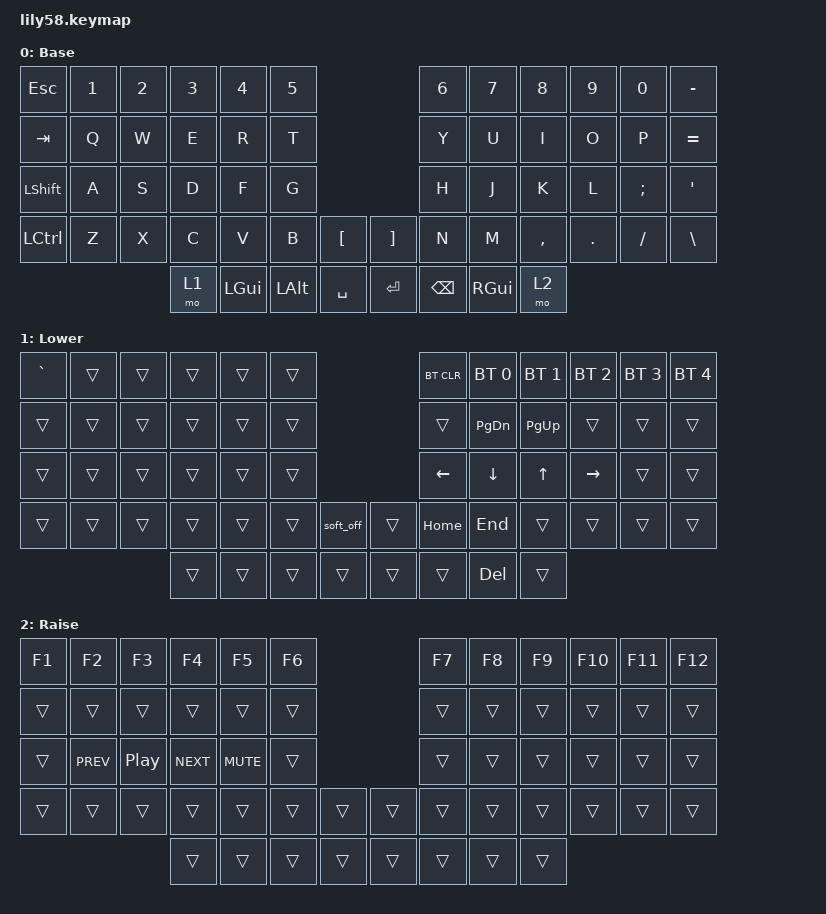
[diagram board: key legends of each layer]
/*
 * Copyright (c) 2020 The ZMK Contributors
 *
 * SPDX-License-Identifier: MIT
 */

#include <behaviors.dtsi>
#include <dt-bindings/zmk/keys.h>
#include <dt-bindings/zmk/bt.h>
#include <dt-bindings/zmk/ext_power.h>

&soft_off {
    hold-time-ms = <3000>; // Only turn off if the key is held for 3 seconds or longer.
};

&soft_off {
    /delete-property/ split-peripheral-off-on-press;
};

/ {
    keymap {
        compatible = "zmk,keymap";

        default_layer {
// ------------------------------------------------------------------------------------------------------------
// |  ESC  |  1  |  2  |  3   |  4   |  5   |                   |  6   |  7    |  8    |  9   |   0   |   -   |
// |  TAB  |  Q  |  W  |  E   |  R   |  T   |                   |  Y   |  U    |  I    |  O   |   P   |   =   |
// |  SHIFT|  A  |  S  |  D   |  F   |  G   |                   |  H   |  J    |  K    |  L   |   ;   |   '   |
// |  CTRL |  Z  |  X  |  C   |  V   |  B   |   "["  |  |  "]"  |  N   |  M    |  ,    |  .   |   /   |   \   |
//                     | LOWER|  GUI | ALT  |  SPACE |  | ENTER| BSPC |  GUI  | RAISE |
            display-name = "Base";
            bindings = <
&kp ESC   &kp N1 &kp N2 &kp N3   &kp N4   &kp N5                        &kp N6    &kp N7   &kp N8    &kp N9  &kp N0   &kp MINUS
&kp TAB   &kp Q  &kp W  &kp E    &kp R    &kp T                         &kp Y     &kp U    &kp I     &kp O   &kp P    &kp EQUAL
&kp LSHFT &kp A  &kp S  &kp D    &kp F    &kp G                         &kp H     &kp J    &kp K     &kp L   &kp SEMI &kp SQT
&kp LCTRL &kp Z  &kp X  &kp C    &kp V    &kp B     &kp LBKT   &kp RBKT &kp N     &kp M    &kp COMMA &kp DOT &kp FSLH &kp BSLH
                        &mo 1    &kp LGUI &kp LALT  &kp SPACE  &kp RET  &kp BSPC  &kp RGUI &mo 2
            >;
        };

        lower_layer {
// ------------------------------------------------------------------------------------------------------------
// |   `   |     |     |      |      |      |                   | BTCLR | BT1   | BT2   | BT3  | BT4   | BT5   |
// |       |     |     |      |      |      |                   |       | PG_DN | PG_UP |      |       |       |
// |       |     |     |      |      |      |                   |  <-   |   v   |   ^   |  ->  |       |       |
// |       |     |     |      |      |      |  Off   |  |       | HOME  |  END  |       |      |       |       |
//                     |      |      |      |        |  |       |       |  DEL  |       |
            display-name = "Lower";
            bindings = <
&kp GRAVE  &trans     &trans     &trans     &trans     &trans                          &bt BT_CLR   &bt BT_SEL 0 &bt BT_SEL 1 &bt BT_SEL 2 &bt BT_SEL 3 &bt BT_SEL 4
&trans     &trans     &trans     &trans     &trans     &trans                          &trans       &kp PG_DN    &kp PG_UP    &trans       &trans       &trans
&trans     &trans     &trans     &trans     &trans     &trans                          &kp LEFT     &kp DOWN     &kp UP       &kp RIGHT    &trans       &trans
&trans     &trans     &trans     &trans     &trans     &trans    &soft_off   &trans    &kp HOME     &kp END      &trans       &trans       &trans       &trans
                                 &trans     &trans     &trans    &trans      &trans    &trans       &kp DEL      &trans
            >;
        };

        raise_layer {
// ------------------------------------------------------------------------------------------------------------
// |  F1   |  F2  |  F3  |  F4  |  F5  |  F6  |                   |  F7  |  F8   |  F9   |  F10 |  F11  |  F12  |
// |       |      |      |      |      |      |                   |      |       |       |      |       |       |
// |       | PREV |  PP  | NEXT | MUTE |      |                   |      |       |       |      |       |       |
// |       |      |      |      |      |      |        |  |       |      |       |       |      |       |       |
//                       |      |      |      |        |  |       |      |       |       |
            display-name = "Raise";
            bindings = <
&kp F1    &kp F2     &kp F3   &kp F4     &kp F5     &kp F6                       &kp F7    &kp F8    &kp F9    &kp F10  &kp F11   &kp F12
&trans    &trans     &trans   &trans     &trans     &trans                       &trans    &trans    &trans    &trans   &trans    &trans
&trans    &kp C_PREV &kp C_PP &kp C_NEXT &kp C_MUTE &trans                       &trans    &trans    &trans    &trans   &trans    &trans
&trans    &trans     &trans   &trans     &trans     &trans    &trans   &trans    &trans    &trans    &trans    &trans   &trans    &trans
                     &trans   &trans     &trans     &trans    &trans   &trans    &trans    &trans
            >;
        };
    };
};
